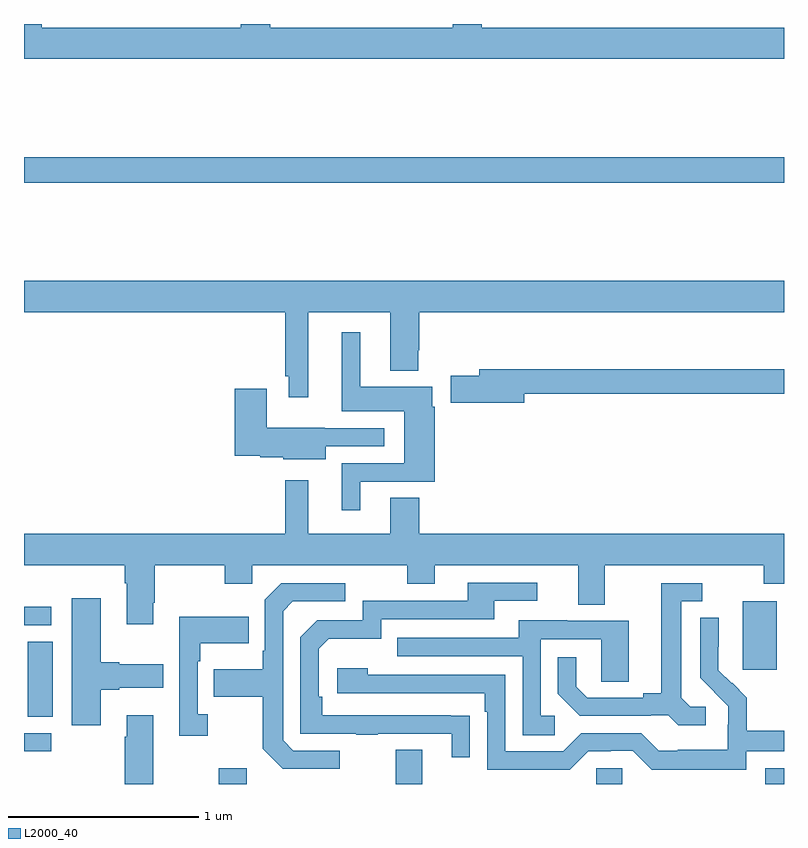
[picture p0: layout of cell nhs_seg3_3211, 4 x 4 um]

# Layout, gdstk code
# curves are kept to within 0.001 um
import gdstk
lib = gdstk.Library(unit=1e-6, precision=1e-09)
def R(c, l, rs):  # rectangles x0, y0, x1, y1
    for r in rs: c.add(gdstk.rectangle(r[:2], r[2:], *l))
def P(c, l, *ps):  # polygons
    for p in ps: c.add(gdstk.Polygon(p, *l))
L2000_40 = (2000, 40)

nhs_seg3_3211 = lib.new_cell('nhs_seg3_3211')
R(nhs_seg3_3211, L2000_40, [(278.026,730.4,278.173,730.483), (278.957,730.4,279.097,730.579), (280.011,730.4,280.149,730.482), (280.901,730.4,281,730.483), (277,730.572,277.144,730.668), (277.019,730.753,277.15,731.15), (280.784,731.001,280.963,731.362), (277,731.235,277.144,731.334), (277,733.564,281,733.7)])
P(nhs_seg3_3211, L2000_40, [(281,734.38),(279.41,734.38),(279.41,734.4),(279.257,734.4),(279.257,734.38),(278.297,734.38),(278.297,734.4),(278.141,734.4),(278.141,734.38),(277.094,734.38),(277.094,734.4),(277,734.4),(277,734.216),(281,734.216)],
  [(278.497,732.884),(278.927,732.884),(278.927,732.575),(279.075,732.575),(279.075,732.682),(279.08,732.682),(279.08,732.884),(281,732.884),(281,733.048),(277,733.048),(277,732.884),(278.376,732.884),(278.376,732.547),(278.393,732.547),(278.393,732.435),(278.497,732.435)],
  [(278.77,731.991),(279.161,731.991),(279.161,732.386),(279.148,732.386),(279.148,732.49),(278.77,732.49),(278.77,732.778),(278.672,732.778),(278.672,732.362),(279.002,732.362),(279.002,732.087),(278.672,732.087),(278.672,731.841),(278.77,731.841)],
  [(279.634,732.454),(281,732.454),(281,732.583),(279.395,732.583),(279.395,732.549),(279.246,732.549),(279.246,732.407),(279.634,732.407)],
  [(278.587,732.177),(278.896,732.177),(278.896,732.273),(278.583,732.273),(278.583,732.274),(278.278,732.274),(278.278,732.481),(278.108,732.481),(278.108,732.128),(278.244,732.128),(278.244,732.121),(278.364,732.121),(278.364,732.11),(278.587,732.11)],
  [(277.681,731.353),(277.689,731.353),(277.689,731.552),(278.056,731.552),(278.056,731.453),(278.202,731.453),(278.202,731.552),(279.016,731.552),(279.016,731.453),(279.163,731.453),(279.163,731.552),(279.917,731.552),(279.917,731.344),(280.057,731.344),(280.057,731.552),(280.894,731.552),(280.894,731.453),(281,731.453),(281,731.716),(279.08,731.716),(279.08,731.906),(278.927,731.906),(278.927,731.716),(278.497,731.716),(278.497,731.998),(278.376,731.998),(278.376,731.716),(277,731.716),(277,731.552),(277.529,731.552),(277.529,731.456),(277.541,731.456),(277.541,731.241),(277.681,731.241)],
  [(279.347,730.76),(278.57,730.761),(278.57,730.858),(278.55,730.858),(278.55,731.112),(278.603,731.165),(278.88,731.165),(278.88,731.268),(279.475,731.268),(279.475,731.364),(279.7,731.364),(279.7,731.46),(279.335,731.46),(279.335,731.364),(278.784,731.364),(278.784,731.262),(278.544,731.262),(278.454,731.172),(278.454,730.665),(278.749,730.665),(278.749,730.66),(278.861,730.66),(278.861,730.665),(279.251,730.665),(279.251,730.542),(279.347,730.542)],
  [(280.588,730.806),(280.506,730.806),(280.459,730.853),(280.459,731.361),(280.57,731.361),(280.57,731.457),(280.355,731.457),(280.355,730.877),(280.259,730.877),(280.259,730.854),(279.964,730.854),(279.907,730.911),(279.907,731.068),(279.81,731.068),(279.81,730.874),(279.926,730.758),(280.298,730.758),(280.298,730.761),(280.392,730.761),(280.444,730.709),(280.588,730.709)],
  [(278.662,730.575),(278.418,730.575),(278.364,730.629),(278.364,731.31),(278.415,731.361),(278.692,731.361),(278.692,731.457),(278.355,731.457),(278.268,731.37),(278.268,731.101),(278.256,731.101),(278.256,731.005),(277.999,731.005),(277.999,730.858),(278.256,730.858),(278.256,730.585),(278.361,730.479),(278.662,730.479)],
  [(277.405,730.895),(277.501,730.895),(277.501,730.907),(277.732,730.907),(277.732,731.029),(277.501,731.029),(277.501,731.042),(277.405,731.042),(277.405,731.377),(277.25,731.377),(277.25,730.71),(277.405,730.71)],
  [(277.966,730.766),(277.914,730.766),(277.914,731.045),(277.927,731.045),(277.927,731.141),(278.183,731.141),(278.183,731.281),(277.818,731.281),(277.818,730.653),(277.966,730.653)],
  [(280.8,730.572),(281,730.572),(281,730.681),(280.805,730.681),(280.805,730.855),(280.728,730.932),(280.725,730.929),(280.655,731),(280.656,731.276),(280.56,731.276),(280.56,730.958),(280.706,730.81),(280.706,730.713),(280.704,730.713),(280.704,730.579),(280.441,730.579),(280.441,730.575),(280.341,730.575),(280.248,730.668),(279.933,730.668),(279.837,730.572),(279.534,730.572),(279.534,730.974),(278.81,730.974),(278.81,731.008),(278.649,731.008),(278.649,730.878),(279.425,730.878),(279.425,730.781),(279.438,730.781),(279.438,730.476),(279.873,730.476),(279.969,730.572),(280.088,730.572),(280.088,730.575),(280.203,730.575),(280.303,730.475),(280.8,730.475)],
  [(279.793,730.758),(279.72,730.758),(279.72,731.163),(280.038,731.163),(280.038,730.939),(280.183,730.939),(280.183,731.259),(279.859,731.259),(279.859,731.263),(279.605,731.263),(279.605,731.169),(278.965,731.169),(278.965,731.073),(279.624,731.073),(279.624,730.657),(279.793,730.657)],
  [(277.681,730.762),(277.541,730.762),(277.541,730.649),(277.529,730.649),(277.529,730.4),(277.681,730.4)])

lib.write_gds('nhs_seg3_3211.gds')
